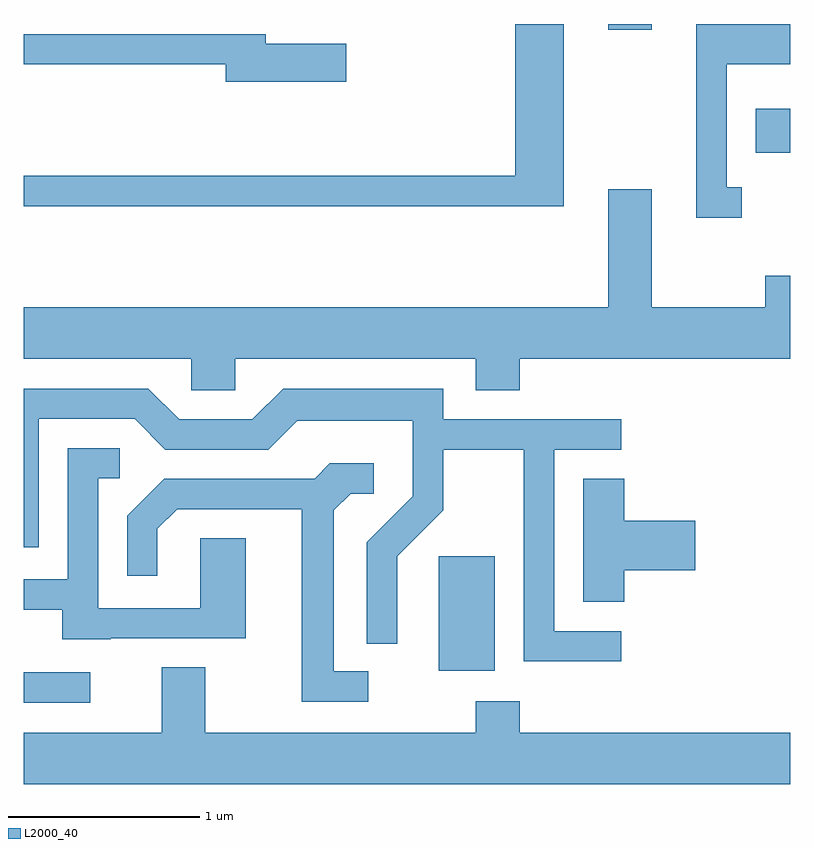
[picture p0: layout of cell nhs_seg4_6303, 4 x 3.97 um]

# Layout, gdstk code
import gdstk
lib = gdstk.Library(unit=1e-6, precision=1e-09)
def R(c, l, rs):  # rectangles x0, y0, x1, y1
    for r in rs: c.add(gdstk.rectangle(r[:2], r[2:], *l))
def P(c, l, *ps):  # polygons
    for p in ps: c.add(gdstk.Polygon(p, *l))
L2000_40 = (2000, 40)

nhs_seg4_6303 = lib.new_cell('nhs_seg4_6303')
R(nhs_seg4_6303, L2000_40, [(369.611,1348.441,369.958,1348.599), (371.776,1348.606,372.069,1349.204), (373.431,1351.311,373.611,1351.539), (372.661,1351.951,372.889,1351.982)])
P(nhs_seg4_6303, L2000_40, [(372.429,1351.982),(372.176,1351.982),(372.176,1351.189),(369.611,1351.189),(369.611,1351.031),(372.429,1351.031)],
  [(373.358,1351.129),(373.279,1351.129),(373.279,1351.771),(373.611,1351.771),(373.611,1351.982),(373.121,1351.982),(373.121,1350.971),(373.358,1350.971)],
  [(371.294,1351.879),(370.874,1351.879),(370.874,1351.929),(369.611,1351.929),(369.611,1351.771),(370.666,1351.771),(370.666,1351.681),(371.294,1351.681)],
  [(370.714,1350.236),(371.971,1350.236),(371.971,1350.071),(372.199,1350.071),(372.199,1350.236),(373.611,1350.236),(373.611,1350.669),(373.481,1350.669),(373.481,1350.504),(372.889,1350.504),(372.889,1351.119),(372.661,1351.119),(372.661,1350.504),(369.611,1350.504),(369.611,1350.236),(370.486,1350.236),(370.486,1350.071),(370.714,1350.071)],
  [(372.728,1348.814),(372.379,1348.814),(372.379,1349.761),(372.728,1349.761),(372.728,1349.919),(371.799,1349.919),(371.799,1350.079),(370.964,1350.079),(370.804,1349.919),(370.422,1349.919),(370.262,1350.079),(369.611,1350.079),(369.611,1349.251),(369.689,1349.251),(369.689,1349.921),(370.189,1349.921),(370.349,1349.761),(370.887,1349.761),(371.037,1349.911),(371.641,1349.911),(371.641,1349.517),(371.401,1349.277),(371.401,1348.748),(371.559,1348.748),(371.559,1349.204),(371.799,1349.444),(371.799,1349.761),(372.221,1349.761),(372.221,1348.656),(372.728,1348.656)],
  [(370.065,1348.776),(370.769,1348.776),(370.769,1349.299),(370.531,1349.299),(370.531,1348.934),(369.999,1348.934),(369.999,1349.611),(370.113,1349.611),(370.113,1349.769),(369.841,1349.769),(369.841,1349.084),(369.611,1349.084),(369.611,1348.926),(369.811,1348.926),(369.811,1348.771),(370.065,1348.771)],
  [(371.408,1348.604),(371.229,1348.604),(371.229,1349.444),(371.317,1349.531),(371.438,1349.531),(371.438,1349.689),(371.209,1349.689),(371.129,1349.609),(370.344,1349.609),(370.151,1349.417),(370.151,1349.103),(370.309,1349.103),(370.309,1349.349),(370.412,1349.451),(371.061,1349.451),(371.061,1348.446),(371.408,1348.446)],
  [(372.744,1349.131),(373.114,1349.131),(373.114,1349.389),(372.744,1349.389),(372.744,1349.609),(372.531,1349.609),(372.531,1348.966),(372.744,1348.966)],
  [(373.611,1348.284),(372.199,1348.284),(372.199,1348.449),(371.971,1348.449),(371.971,1348.284),(370.559,1348.284),(370.559,1348.624),(370.331,1348.624),(370.331,1348.284),(369.611,1348.284),(369.611,1348.016),(373.611,1348.016)])

lib.write_gds('nhs_seg4_6303.gds')
